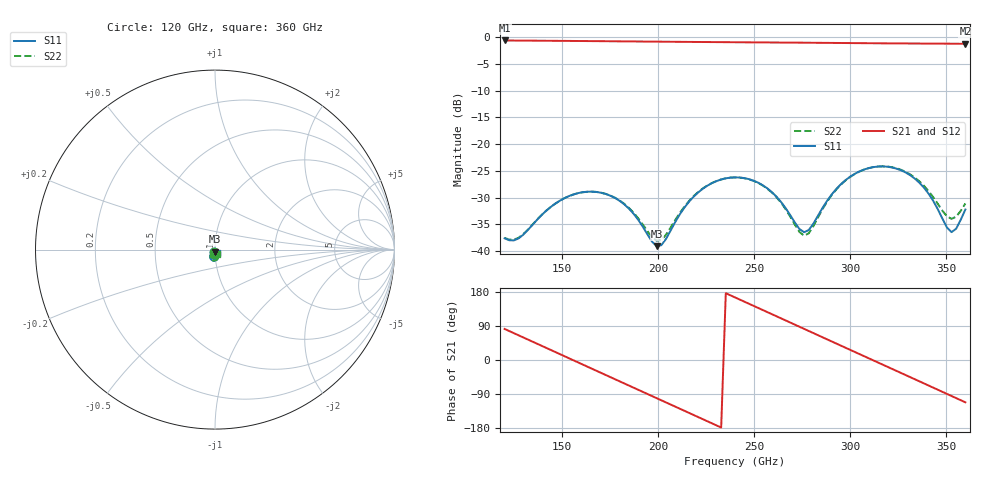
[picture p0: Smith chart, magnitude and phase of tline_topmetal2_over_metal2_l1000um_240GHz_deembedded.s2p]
! Created with skrf 2.2.0 (http://scikit-rf.org).
# GHz S DB R 50.0
! Port[1] = P1
! Port[2] = P2
!freq dBS11 angS11 dBS21 angS21 dBS12 angS12 dBS22 angS22
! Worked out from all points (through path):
!   101 points, 120 GHz to 360 GHz, reference 50 ohm
!   highest |S21| = -0.64 dB at 120 GHz (marker M1); lowest = -1.3 dB at 360 GHz (marker M2)
!   group delay of S21, straight-line fit = 6.41 ps
!   lowest |S11| = -39.1 dB at 199.2 GHz (marker M3), VSWR 1.02, Z = 49.8 - j1.08 ohm
!   |S11| at or under -10 dB: start of sweep to end of sweep
!   |S22| runs from -38.1 to -24.1 dB; largest |S21 - S12| = 1e-13
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120  -37.61 -104.3  -0.64 82.0  -0.64 82.0  -37.52 -104.6
127.2  -37.64 -83.7  -0.66 65.4  -0.66 65.4  -37.51 -84.7
141.6  -32.48 -71.3  -0.70 32.1  -0.70 32.1  -32.47 -72.2
151.2  -30.10 -81.5  -0.72 10.0  -0.72 10.0  -30.11 -82.1
160.8  -28.99 -95.8  -0.75 -12.2  -0.75 -12.2  -29.00 -95.9
170.4  -29.10 -111.1  -0.78 -34.3  -0.78 -34.3  -29.09 -110.7
182.4  -31.28 -127.7  -0.81 -62.0  -0.81 -62.0  -31.18 -126.3
199.2  -39.07 -102.0  -0.86 -100.8  -0.86 -100.8  -38.05 -101.8
201.6  -38.90 -86.1  -0.87 -106.3  -0.87 -106.3  -37.90 -88.4
223.2  -28.35 -69.9  -0.93 -156.1  -0.93 -156.1  -28.30 -72.7
240  -26.22 -97.8  -0.98 165.2  -0.98 165.2  -26.23 -99.7
249.6  -26.83 -113.7  -1.00 143.1  -1.00 143.1  -26.86 -115.6
261.6  -29.82 -128.5  -1.03 115.4  -1.03 115.4  -29.93 -130.6
276  -36.46 -97.2  -1.06 82.1  -1.06 82.1  -37.12 -97.8
280.8  -34.88 -71.2  -1.07 71.1  -1.07 71.1  -35.35 -69.3
290.4  -29.39 -60.5  -1.10 48.9  -1.10 48.9  -29.52 -58.5
302.4  -25.55 -74.5  -1.14 21.2  -1.14 21.2  -25.58 -72.7
312  -24.31 -90.4  -1.16 -0.9  -1.16 -0.9  -24.30 -88.4
321.6  -24.36 -107.1  -1.19 -23.0  -1.19 -23.0  -24.31 -104.5
338.4  -28.14 -131.5  -1.22 -61.8  -1.22 -61.8  -27.79 -126.1
352.8  -36.45 -95.4  -1.25 -95.0  -1.25 -95.0  -33.97 -95.1
360  -32.22 -55.8  -1.27 -111.7  -1.27 -111.7  -31.10 -64.7
